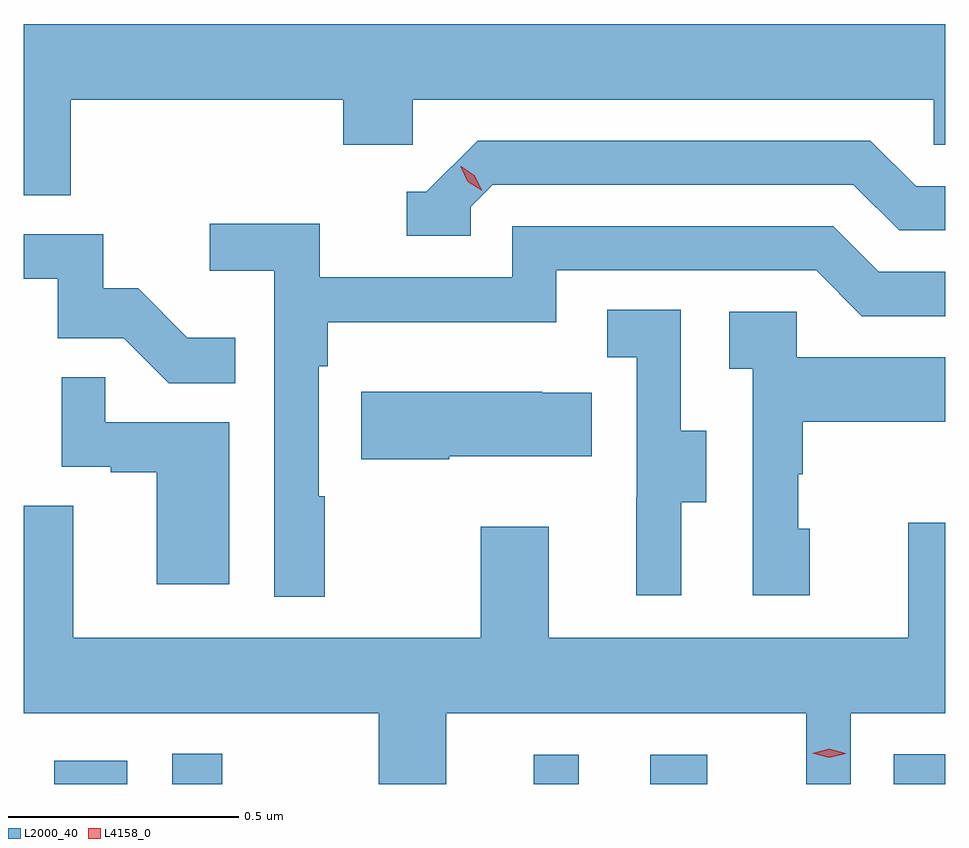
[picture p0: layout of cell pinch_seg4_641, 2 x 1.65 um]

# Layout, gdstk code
import gdstk
lib = gdstk.Library(unit=1e-6, precision=1e-09)
def R(c, l, rs):  # rectangles x0, y0, x1, y1
    for r in rs: c.add(gdstk.rectangle(r[:2], r[2:], *l))
def P(c, l, *ps):  # polygons
    for p in ps: c.add(gdstk.Polygon(p, *l))
L2000_40 = (2000, 40)
L4158_0 = (4158, 0)

pinch_seg4_641 = lib.new_cell('pinch_seg4_641')
R(pinch_seg4_641, L2000_40, [(1029.146,763.366,1029.304,763.417), (1029.402,763.366,1029.511,763.432), (1030.187,763.366,1030.285,763.429), (1030.44,763.366,1030.564,763.429), (1030.968,763.366,1031.08,763.431)])
P(pinch_seg4_641, L2000_40, [(1029.182,764.852),(1029.773,764.852),(1029.773,764.754),(1029.924,764.754),(1029.924,764.852),(1031.055,764.852),(1031.055,764.754),(1031.08,764.754),(1031.08,765.016),(1029.08,765.016),(1029.08,764.644),(1029.182,764.644)],
  [(1030.05,764.619),(1030.098,764.667),(1030.881,764.667),(1030.98,764.568),(1031.08,764.568),(1031.08,764.664),(1031.017,764.664),(1030.918,764.763),(1030.065,764.763),(1029.954,764.652),(1029.911,764.652),(1029.911,764.556),(1030.05,764.556)],
  [(1029.733,763.991),(1029.72,763.991),(1029.72,764.273),(1029.74,764.273),(1029.74,764.369),(1030.236,764.369),(1030.236,764.481),(1030.8,764.481),(1030.899,764.382),(1031.08,764.382),(1031.08,764.478),(1030.936,764.478),(1030.837,764.577),(1030.14,764.577),(1030.14,764.466),(1029.722,764.466),(1029.722,764.582),(1029.483,764.582),(1029.483,764.48),(1029.624,764.48),(1029.624,763.773),(1029.733,763.773)],
  [(1029.539,764.335),(1029.435,764.335),(1029.328,764.442),(1029.252,764.442),(1029.252,764.559),(1029.08,764.559),(1029.08,764.463),(1029.153,764.463),(1029.153,764.334),(1029.297,764.334),(1029.395,764.236),(1029.539,764.236)],
  [(1030.507,763.978),(1030.561,763.978),(1030.561,764.133),(1030.506,764.133),(1030.506,764.396),(1030.347,764.396),(1030.347,764.293),(1030.41,764.293),(1030.41,763.989),(1030.409,763.989),(1030.409,763.776),(1030.507,763.776)],
  [(1030.786,763.92),(1030.761,763.92),(1030.761,764.039),(1030.771,764.039),(1030.771,764.153),(1031.08,764.153),(1031.08,764.293),(1030.758,764.293),(1030.758,764.391),(1030.611,764.391),(1030.611,764.267),(1030.662,764.267),(1030.662,763.776),(1030.786,763.776)],
  [(1029.526,764.151),(1029.257,764.151),(1029.257,764.249),(1029.162,764.249),(1029.162,764.055),(1029.269,764.055),(1029.269,764.043),(1029.368,764.043),(1029.368,763.8),(1029.526,763.8)],
  [(1030.003,764.078),(1030.313,764.078),(1030.313,764.215),(1030.205,764.215),(1030.205,764.218),(1029.812,764.218),(1029.812,764.071),(1030.003,764.071)],
  [(1029.997,763.52),(1030.778,763.52),(1030.778,763.366),(1030.875,763.366),(1030.875,763.52),(1031.08,763.52),(1031.08,763.933),(1031,763.933),(1031,763.684),(1030.219,763.684),(1030.219,763.924),(1030.072,763.924),(1030.072,763.684),(1029.187,763.684),(1029.187,763.97),(1029.08,763.97),(1029.08,763.52),(1029.85,763.52),(1029.85,763.366),(1029.997,763.366)])
P(pinch_seg4_641, L4158_0, [(1030.828,763.423),(1030.792,763.433),(1030.792,763.433),(1030.792,763.433),(1030.828,763.443),(1030.864,763.433),(1030.864,763.432),(1030.864,763.432)],
  [(1030.075,764.654),(1030.044,764.674),(1030.028,764.706),(1030.028,764.707),(1030.029,764.707),(1030.059,764.687),(1030.075,764.654),(1030.075,764.654)])

lib.write_gds('pinch_seg4_641.gds')
